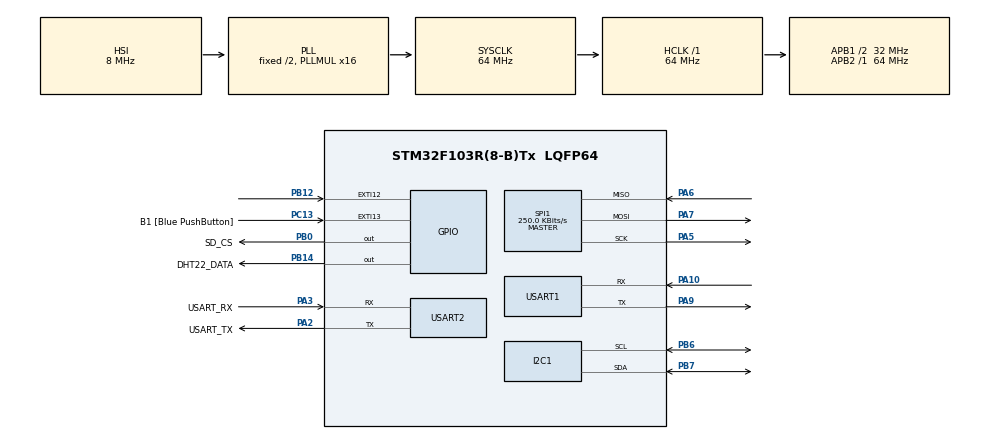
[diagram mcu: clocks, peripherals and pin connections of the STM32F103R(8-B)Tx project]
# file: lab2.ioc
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Dma.Request0=SPI1_RX
Dma.Request1=SPI1_TX
Dma.SPI1_RX.0.Direction=DMA_PERIPH_TO_MEMORY
Dma.SPI1_RX.0.Instance=DMA1_Channel2
Dma.SPI1_RX.0.MemDataAlignment=DMA_MDATAALIGN_BYTE
Dma.SPI1_RX.0.MemInc=DMA_MINC_ENABLE
Dma.SPI1_RX.0.Mode=DMA_NORMAL
Dma.SPI1_RX.0.PeriphDataAlignment=DMA_PDATAALIGN_BYTE
Dma.SPI1_RX.0.PeriphInc=DMA_PINC_DISABLE
Dma.SPI1_RX.0.Priority=DMA_PRIORITY_MEDIUM
Dma.SPI1_TX.1.Direction=DMA_MEMORY_TO_PERIPH
Dma.SPI1_TX.1.Instance=DMA1_Channel3
Dma.SPI1_TX.1.MemDataAlignment=DMA_MDATAALIGN_BYTE
Dma.SPI1_TX.1.MemInc=DMA_MINC_ENABLE
Dma.SPI1_TX.1.Mode=DMA_NORMAL
Dma.SPI1_TX.1.PeriphDataAlignment=DMA_PDATAALIGN_BYTE
Dma.SPI1_TX.1.PeriphInc=DMA_PINC_DISABLE
Dma.SPI1_TX.1.Priority=DMA_PRIORITY_MEDIUM
Mcu.Family=STM32F1
Mcu.Name=STM32F103R(8-B)Tx
Mcu.Package=LQFP64
NVIC.DMA1_Channel2_IRQn=true\:1\:0\:false\:false\:true\:false\:true\:true
NVIC.DMA1_Channel3_IRQn=true\:1\:0\:false\:false\:true\:false\:true\:true
NVIC.EXTI15_10_IRQn=true\:5\:0\:false\:false\:true\:true\:true\:true
NVIC.PriorityGroup=NVIC_PRIORITYGROUP_4
NVIC.SPI1_IRQn=true\:1\:0\:false\:false\:true\:true\:true\:true
NVIC.USART1_IRQn=true\:2\:0\:false\:false\:true\:true\:true\:true
PA10.GPIO_PuPd=GPIO_PULLUP
PA10.Mode=Asynchronous
PA10.Signal=USART1_RX
PA13.GPIO_Label=TMS
PA13.Mode=Serial_Wire
PA13.Signal=SYS_JTMS-SWDIO
PA14.GPIO_Label=TCK
PA14.Mode=Serial_Wire
PA14.Signal=SYS_JTCK-SWCLK
PA2.GPIO_Label=USART_TX
PA2.GPIO_Mode=GPIO_MODE_AF_PP
PA2.GPIO_PuPd=GPIO_NOPULL
PA2.GPIO_Speed=GPIO_SPEED_FREQ_LOW
PA2.Mode=Asynchronous
PA2.Signal=USART2_TX
PA3.GPIO_Label=USART_RX
PA3.GPIO_Mode=GPIO_MODE_AF_PP
PA3.GPIO_PuPd=GPIO_NOPULL
PA3.GPIO_Speed=GPIO_SPEED_FREQ_LOW
PA3.Mode=Asynchronous
PA3.Signal=USART2_RX
PA5.Mode=Full_Duplex_Master
PA5.Signal=SPI1_SCK
PA6.Mode=Full_Duplex_Master
PA6.Signal=SPI1_MISO
PA7.Mode=Full_Duplex_Master
PA7.Signal=SPI1_MOSI
PA9.Mode=Asynchronous
PA9.Signal=USART1_TX
PB0.GPIO_Label=SD_CS
PB0.PinState=GPIO_PIN_SET
PB0.Signal=GPIO_Output
PB12.GPIO_ModeDefaultEXTI=GPIO_MODE_IT_FALLING
PB12.GPIO_PuPd=GPIO_PULLUP
PB12.Signal=GPXTI12
PB14.GPIO_Label=DHT22_DATA
PB14.GPIO_ModeDefaultOutputPP=GPIO_MODE_OUTPUT_OD
PB14.GPIO_PuPd=GPIO_NOPULL
PB14.Signal=GPIO_Output
PB3.GPIO_Label=SWO
PB3.Signal=SYS_JTDO-TRACESWO
PB6.Mode=I2C
PB6.Signal=I2C1_SCL
PB7.Mode=I2C
PB7.Signal=I2C1_SDA
PC13-TAMPER-RTC.GPIO_Label=B1 [Blue PushButton]
PC13-TAMPER-RTC.GPIO_ModeDefaultEXTI=GPIO_MODE_IT_FALLING
PC13-TAMPER-RTC.GPIO_PuPd=GPIO_NOPULL
PC13-TAMPER-RTC.Signal=GPXTI13
PC14-OSC32_IN.Signal=RCC_OSC32_IN
PC15-OSC32_OUT.Signal=RCC_OSC32_OUT
PD0-OSC_IN.Signal=RCC_OSC_IN
PD1-OSC_OUT.Signal=RCC_OSC_OUT
ProjectManager.HeapSize=0x200
ProjectManager.StackSize=0x400
ProjectManager.TargetToolchain=MDK-ARM V5.32
RCC.AHBFreq_Value=64000000
RCC.APB1CLKDivider=RCC_HCLK_DIV2
RCC.APB1Freq_Value=32000000
RCC.APB1TimFreq_Value=64000000
RCC.APB2Freq_Value=64000000
RCC.APB2TimFreq_Value=64000000
RCC.HCLKFreq_Value=64000000
RCC.PLLMUL=RCC_PLL_MUL16
RCC.SYSCLKFreq_VALUE=64000000
RCC.SYSCLKSource=RCC_SYSCLKSOURCE_PLLCLK
RCC.USBFreq_Value=64000000
SPI1.BaudRatePrescaler=SPI_BAUDRATEPRESCALER_256
SPI1.CalculateBaudRate=250.0 KBits/s
SPI1.Direction=SPI_DIRECTION_2LINES
SPI1.Mode=SPI_MODE_MASTER
SPI1.VirtualType=VM_MASTER
TIM2.Prescaler=63
USART1.VirtualMode=VM_ASYNC
USART2.VirtualMode=VM_ASYNC
VP_FATFS_VS_Generic.Mode=User_defined
VP_TIM2_VS_ClockSourceINT.Mode=Internal
board=NUCLEO-F103RB

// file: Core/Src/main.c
/* USER CODE BEGIN Header */
/**
  ******************************************************************************
  * @file           : main.c
  * @brief          : Main program body
  ******************************************************************************
  * @attention
  *
  * Copyright (c) 2026 STMicroelectronics.
  * All rights reserved.
  *
  * This software is licensed under terms that can be found in the LICENSE file
  * in the root directory of this software component.
  * If no LICENSE file comes with this software, it is provided AS-IS.
  *
  ******************************************************************************
  */
/* USER CODE END Header */
#include "main.h"
#include "fatfs.h"
#include "ds3231.h"
#include "Sd_spi.h"
#include "ssd1306.h"
#include <stdio.h>
#include <string.h>
#include "link_proto.h"

/* USER CODE BEGIN PD */
#define NODE_ADDR         LINK_ADDR_LOGGER
#define LINK_RX_SIZE      256U
#define LOG_EVERY_N       30U
#define LINK_TIMEOUT_MS   7000U
/* USER CODE END PD */

I2C_HandleTypeDef hi2c1;

SPI_HandleTypeDef hspi1;
DMA_HandleTypeDef hdma_spi1_rx;
DMA_HandleTypeDef hdma_spi1_tx;

TIM_HandleTypeDef htim2;

UART_HandleTypeDef huart1;
UART_HandleTypeDef huart2;

/* USER CODE BEGIN PV */
#define MOCK_RX_ENABLE  0   /* 1 = inject fake frames for bench tests, never for real operation */
#define MOCK_PERIOD_MS  2000U

#if MOCK_RX_ENABLE
static const char *mock_frames[] =
{
    "$DHT,2,1,1799,236,507*74",
    "$DHT,2,1,1800,235,508*77",
    "$DHT,2,1,1801,235,507*79",
    "$DHT,2,1,1802,236,508*76",
    "$DHT,2,1,1803,235,508*74",
    "$DHT,2,1,1804,236,507*7F",
    "$DHT,2,1,1805,236,507*7E",
    "$DHT,2,1,1806,236,507*7D",
    "$DHT,2,1,1807,235,507*7F",
    "$DHT,2,1,1808,236,507*73",
    "$DHT,2,1,1809,235,507*71",
    "$DHT,2,1,1810,235,507*79",
    "$DHT,2,1,1811,236,508*74",
    "$DHT,2,1,1812,236,507*78",
    "$DHT,2,1,1813,235,507*7A",
    "$DHT,2,1,1814,235,507*7D",
    "$DHT,2,1,1815,235,508*73"
};

#define MOCK_FRAME_COUNT \
    (sizeof(mock_frames) / sizeof(mock_frames[0]))

static uint32_t mock_last_ms = 0;
static uint8_t mock_index = 0;
static uint8_t mock_started = 0;
#endif

extern volatile uint8_t sd_mounted;
static char csv_line[128];
static uint8_t dummy[512];
extern volatile uint8_t sd_use_dma;
static uint8_t oled_ok = 0;

static volatile uint8_t  rx_ring[LINK_RX_SIZE];
static volatile uint16_t rx_head = 0, rx_tail = 0;
static volatile uint32_t rx_overflow = 0;
volatile uint32_t uart_err = 0;          /* FE/NE/ORE counted in USART1_IRQHandler */

static link_rx_t   link_rx;
static uint8_t     link_seen = 0, link_ok = 0;
static uint32_t    last_rx_ms = 0;
static uint16_t    last_seq = 0;
static uint8_t     log_cnt = 0;
/* USER CODE END PV */

void SystemClock_Config(void);
static void MX_GPIO_Init(void);
static void MX_DMA_Init(void);
static void MX_TIM2_Init(void);
static void MX_USART2_UART_Init(void);
static void MX_USART1_UART_Init(void);
static void MX_I2C1_Init(void);
static void MX_SPI1_Init(void);

/* USER CODE BEGIN 0 */
void Print(char *message)
{
    HAL_UART_Transmit(&huart2, (uint8_t *)message, strlen(message), HAL_MAX_DELAY);
}

int _write(int file, char *ptr, int len)
{
    HAL_UART_Transmit(&huart2, (uint8_t*)ptr, len, HAL_MAX_DELAY);
    return len;
}

static uint32_t sd_bench(uint8_t use_dma, uint8_t *buf, uint32_t n)
{
    uint32_t total_us = 0;
    sd_use_dma = use_dma;

    for (uint32_t i = 0; i < n; i++)
    {
        uint16_t t0 = __HAL_TIM_GET_COUNTER(&htim2);
        if (sd_read_block(buf, 0) != 0)
            return 0;
        total_us += (uint16_t)(__HAL_TIM_GET_COUNTER(&htim2) - t0);
    }
    return total_us / n;
}

static void sd_dma_test(void)
{
    static uint8_t buf_poll[512], buf_dma[512];
    char s[96];

    uint32_t us_poll = sd_bench(0, buf_poll, 20);
    uint32_t us_dma  = sd_bench(1, buf_dma, 20);
    sd_use_dma = 1;

    if (us_poll == 0 || us_dma == 0)
    {
        Print("[TEST] read error\r\n");
        return;
    }

    snprintf(s, sizeof(s), "[TEST] 512 B, no DMA: %lu us\r\n", (unsigned long)us_poll);
    Print(s);
    snprintf(s, sizeof(s), "[TEST] 512 B, DMA   : %lu us\r\n", (unsigned long)us_dma);
    Print(s);
    snprintf(s, sizeof(s), "[TEST] speedup x%lu.%lu, data %s\r\n",
             (unsigned long)(us_poll * 10 / us_dma / 10),
             (unsigned long)(us_poll * 10 / us_dma % 10),
             memcmp(buf_poll, buf_dma, 512) == 0 ? "identical" : "DIFFERENT");
    Print(s);
}

static void oled_show_humidity(uint8_t valid, int whole, int dec)
{
    char val[16];

    if (valid) snprintf(val, sizeof(val), "%d.%d %%", whole, dec);
    else       snprintf(val, sizeof(val), "--.- %%");

    SSD1306_Clear();
    SSD1306_DrawStringCentered(6,  "HUMIDITY", 2);
    SSD1306_DrawStringCentered(34, val, 3);
    SSD1306_Update();
}

void Link_OnRxByte(uint8_t b)
{
    uint16_t next = (uint16_t)((rx_head + 1U) & (LINK_RX_SIZE - 1U));
    if (next != rx_tail) { rx_ring[rx_head] = b; rx_head = next; }
    else                 { rx_overflow++; }
}

static void handle_frame(const link_data_t *f, DS3231_Time_t rtc_time)
{
    char s[96];
    int hw = f->hum10 / 10, hd = f->hum10 % 10;
    int tt = f->temp10 < 0 ? -f->temp10 : f->temp10;
    const char *tsign = f->temp10 < 0 ? "-" : "";
    int tw = tt / 10, td = tt % 10;

    if (link_seen && (uint16_t)(f->seq - last_seq) != 1U)
        Print("[LINK] frame(s) lost\r\n");
    link_seen = 1; link_ok = 1;
    last_seq = f->seq; last_rx_ms = HAL_GetTick();

		if (oled_ok)
		{
				oled_show_humidity(1, hw, hd);
		}

    snprintf(s, sizeof(s), "%02d.%02d.%04d %02d:%02d:%02d | Temp: %s%d.%d C, Hum: %d.%d %%\r\n",
             rtc_time.date, rtc_time.month, rtc_time.year,
             rtc_time.hours, rtc_time.minutes, rtc_time.seconds,
             tsign, tw, td, hw, hd);
    Print(s);

    if (++log_cnt >= LOG_EVERY_N)
    {
        log_cnt = 0;
        if (!sd_mounted)
            Print("  [SD] no card\r\n");
        else
        {
            snprintf(csv_line, sizeof(csv_line), "%02d.%02d.%04d;%02d:%02d:%02d;%s%d.%d;%d.%d\r\n",
                     rtc_time.date, rtc_time.month, rtc_time.year,
                     rtc_time.hours, rtc_time.minutes, rtc_time.seconds,
                     tsign, tw, td, hw, hd);
						if (sd_append_file("log.csv", csv_line) != 0)
						{
								Print("  [SD] write failed\r\n");
								sd_unmount();
						}
						else
						{
							Print("  [SD] saved\r\n");
						}
        }
    }
}

#if MOCK_RX_ENABLE

static void mock_receive_frame(void)
{
    const char *p = mock_frames[mock_index];

    while (*p)
    {
        Link_OnRxByte((uint8_t)*p);
        p++;
    }

    Link_OnRxByte('\r');
    Link_OnRxByte('\n');

    mock_index++;

    if (mock_index >= MOCK_FRAME_COUNT)
        mock_index = 0;
}

#endif

/* USER CODE END 0 */

int main(void)
{

  /* MCU Configuration--------------------------------------------------------*/

  /* Reset of all peripherals, Initializes the Flash interface and the Systick. */
  HAL_Init();

  /* Configure the system clock */
  SystemClock_Config();

  /* Initialize all configured peripherals */
  MX_GPIO_Init();
  MX_DMA_Init();
  MX_TIM2_Init();
  MX_USART2_UART_Init();
  MX_USART1_UART_Init();
  MX_I2C1_Init();
  MX_SPI1_Init();
	MX_FATFS_Init();

  /* USER CODE BEGIN 2 */
	HAL_TIM_Base_Start(&htim2);
	/* RS-485 receive: USART1 RXNE interrupt (NVIC priority is set in HAL_UART_MspInit) */
	__HAL_UART_ENABLE_IT(&huart1, UART_IT_RXNE);

	if (DS3231_Init() != HAL_OK)
	{
			Print("[RTC] initialization failed\r\n");
	}
	else
	{
    Print("[RTC] initialized\r\n");
	}

	oled_ok = (SSD1306_Init() == HAL_OK);
	if (!oled_ok)
			Print("OLED not found\r\n");
	else
			oled_show_humidity(0, 0, 0);

  if (sd_mount() != 0)
      Print("SD mount FAILED\r\n");
  else
      sd_dma_test();

	link_rx_init(&link_rx, NODE_ADDR);

	Print("System ready.\r\n");
	//DS3231_Time_t init_time = {10, 31, 20, 4, 22, 10, 2026};
	//DS3231_SetTime(&init_time);

  /* USER CODE END 2 */

  /* Infinite loop */
while (1)
{

    /* USER CODE BEGIN 3 */
	#if MOCK_RX_ENABLE

    if (!mock_started ||
        (uint32_t)(HAL_GetTick() - mock_last_ms) >= MOCK_PERIOD_MS)
    {
        mock_last_ms = HAL_GetTick();
        mock_started = 1;

        mock_receive_frame();
    }

#endif

    while (rx_tail != rx_head)
    {
				DS3231_Time_t rtc_time;
        uint8_t b = rx_ring[rx_tail];
        rx_tail = (uint16_t)((rx_tail + 1U) & (LINK_RX_SIZE - 1U));

        link_data_t f;
        link_result_t r = link_rx_feed(&link_rx, b, &f);
				if (r == LINK_FRAME)
				{
						if (DS3231_ReadTime(&rtc_time))
						{
								handle_frame(&f, rtc_time);
						}
						else
						{
								Print("[RTC] read error\r\n");
						}
				}
				else if (r == LINK_BAD)
				{
						Print("[LINK] bad frame\r\n");
				}
    }

    uint8_t now_ok = link_seen && ((uint32_t)(HAL_GetTick() - last_rx_ms) < LINK_TIMEOUT_MS);
    if (link_ok && !now_ok)
    {
        Print("[LINK] sensor timeout\r\n");
        if (oled_ok)
            oled_show_humidity(0, 0, 0);
    }
    link_ok = now_ok;

    /* link diagnostics: print only when a counter changed */
    {
        static uint32_t d_ovf = 0, d_err = 0;
        uint32_t o = rx_overflow, e = uart_err;
        if (o != d_ovf || e != d_err)
        {
            char ds[56];
            d_ovf = o; d_err = e;
            snprintf(ds, sizeof(ds), "[LINK] rx overflow=%lu, uart err=%lu\r\n",
                     (unsigned long)o, (unsigned long)e);
            Print(ds);
        }
    }

    /* ===== HOT-SWAP ===== */
		static uint32_t last_sd_check = 0;

		if ((uint32_t)(HAL_GetTick() - last_sd_check) >= 10000U)
		{
				last_sd_check = HAL_GetTick();

				if (sd_mounted)
				{
						if (sd_read_block(dummy, 0) != 0)
						{
								Print("[SD] card removed\r\n");
								sd_unmount();
						}
				}
				else
				{
						Print("[SD] trying to mount card...\r\n");

						if (sd_mount() == 0)
						{
								Print("[SD] card mounted successfully\r\n");
						}
						else
						{
								Print("[SD] mount failed, retrying...\r\n");
						}
				}
		}

    HAL_Delay(10);
  /* USER CODE END 3 */
}}

void SystemClock_Config(void)
{
  RCC_OscInitTypeDef RCC_OscInitStruct = {0};
  RCC_ClkInitTypeDef RCC_ClkInitStruct = {0};

  /** Initializes the RCC Oscillators according to the specified parameters
  * in the RCC_OscInitTypeDef structure.
  */
  RCC_OscInitStruct.OscillatorType = RCC_OSCILLATORTYPE_HSI;
  RCC_OscInitStruct.HSIState = RCC_HSI_ON;
  RCC_OscInitStruct.HSICalibrationValue = RCC_HSICALIBRATION_DEFAULT;
  RCC_OscInitStruct.PLL.PLLState = RCC_PLL_ON;
  RCC_OscInitStruct.PLL.PLLSource = RCC_PLLSOURCE_HSI_DIV2;
  RCC_OscInitStruct.PLL.PLLMUL = RCC_PLL_MUL16;
  if (HAL_RCC_OscConfig(&RCC_OscInitStruct) != HAL_OK)
  {
    Error_Handler();
  }

  /** Initializes the CPU, AHB and APB buses clocks
  */
  RCC_ClkInitStruct.ClockType = RCC_CLOCKTYPE_HCLK|RCC_CLOCKTYPE_SYSCLK
                              |RCC_CLOCKTYPE_PCLK1|RCC_CLOCKTYPE_PCLK2;
  RCC_ClkInitStruct.SYSCLKSource = RCC_SYSCLKSOURCE_PLLCLK;
  RCC_ClkInitStruct.AHBCLKDivider = RCC_SYSCLK_DIV1;
  RCC_ClkInitStruct.APB1CLKDivider = RCC_HCLK_DIV2;
  RCC_ClkInitStruct.APB2CLKDivider = RCC_HCLK_DIV1;

  if (HAL_RCC_ClockConfig(&RCC_ClkInitStruct, FLASH_LATENCY_2) != HAL_OK)
  {
    Error_Handler();
  }
}

static void MX_I2C1_Init(void)
{

  hi2c1.Instance = I2C1;
  hi2c1.Init.ClockSpeed = 100000;
  hi2c1.Init.DutyCycle = I2C_DUTYCYCLE_2;
  hi2c1.Init.OwnAddress1 = 0;
  hi2c1.Init.AddressingMode = I2C_ADDRESSINGMODE_7BIT;
  hi2c1.Init.DualAddressMode = I2C_DUALADDRESS_DISABLE;
  hi2c1.Init.OwnAddress2 = 0;
  hi2c1.Init.GeneralCallMode = I2C_GENERALCALL_DISABLE;
  hi2c1.Init.NoStretchMode = I2C_NOSTRETCH_DISABLE;
  if (HAL_I2C_Init(&hi2c1) != HAL_OK)
  {
    Error_Handler();
  }

}

static void MX_SPI1_Init(void)
{

  /* SPI1 parameter configuration*/
  hspi1.Instance = SPI1;
  hspi1.Init.Mode = SPI_MODE_MASTER;
  hspi1.Init.Direction = SPI_DIRECTION_2LINES;
  hspi1.Init.DataSize = SPI_DATASIZE_8BIT;
  hspi1.Init.CLKPolarity = SPI_POLARITY_LOW;
  hspi1.Init.CLKPhase = SPI_PHASE_1EDGE;
  hspi1.Init.NSS = SPI_NSS_SOFT;
  hspi1.Init.BaudRatePrescaler = SPI_BAUDRATEPRESCALER_256;
  hspi1.Init.FirstBit = SPI_FIRSTBIT_MSB;
  hspi1.Init.TIMode = SPI_TIMODE_DISABLE;
  hspi1.Init.CRCCalculation = SPI_CRCCALCULATION_DISABLE;
  hspi1.Init.CRCPolynomial = 10;
  if (HAL_SPI_Init(&hspi1) != HAL_OK)
  {
    Error_Handler();
  }

}

static void MX_TIM2_Init(void)
{

  TIM_ClockConfigTypeDef sClockSourceConfig = {0};
  TIM_MasterConfigTypeDef sMasterConfig = {0};

  htim2.Instance = TIM2;
  htim2.Init.Prescaler = 63;
  htim2.Init.CounterMode = TIM_COUNTERMODE_UP;
  htim2.Init.Period = 65535;
  htim2.Init.ClockDivision = TIM_CLOCKDIVISION_DIV1;
  htim2.Init.AutoReloadPreload = TIM_AUTORELOAD_PRELOAD_DISABLE;
  if (HAL_TIM_Base_Init(&htim2) != HAL_OK)
  {
    Error_Handler();
  }
  sClockSourceConfig.ClockSource = TIM_CLOCKSOURCE_INTERNAL;
  if (HAL_TIM_ConfigClockSource(&htim2, &sClockSourceConfig) != HAL_OK)
  {
    Error_Handler();
  }
  sMasterConfig.MasterOutputTrigger = TIM_TRGO_RESET;
  sMasterConfig.MasterSlaveMode = TIM_MASTERSLAVEMODE_DISABLE;
  if (HAL_TIMEx_MasterConfigSynchronization(&htim2, &sMasterConfig) != HAL_OK)
  {
    Error_Handler();
  }

}

static void MX_USART1_UART_Init(void)
{

  huart1.Instance = USART1;
  huart1.Init.BaudRate = 115200;
  huart1.Init.WordLength = UART_WORDLENGTH_8B;
  huart1.Init.StopBits = UART_STOPBITS_1;
  huart1.Init.Parity = UART_PARITY_NONE;
  huart1.Init.Mode = UART_MODE_TX_RX;
  huart1.Init.HwFlowCtl = UART_HWCONTROL_NONE;
  huart1.Init.OverSampling = UART_OVERSAMPLING_16;
  if (HAL_UART_Init(&huart1) != HAL_OK)
  {
    Error_Handler();
  }

}

static void MX_USART2_UART_Init(void)
{

  huart2.Instance = USART2;
  huart2.Init.BaudRate = 115200;
  huart2.Init.WordLength = UART_WORDLENGTH_8B;
  huart2.Init.StopBits = UART_STOPBITS_1;
  huart2.Init.Parity = UART_PARITY_NONE;
  huart2.Init.Mode = UART_MODE_TX_RX;
  huart2.Init.HwFlowCtl = UART_HWCONTROL_NONE;
  huart2.Init.OverSampling = UART_OVERSAMPLING_16;
  if (HAL_UART_Init(&huart2) != HAL_OK)
  {
    Error_Handler();
  }

}

static void MX_DMA_Init(void)
{

  /* DMA controller clock enable */
  __HAL_RCC_DMA1_CLK_ENABLE();

  /* DMA interrupt init */
  /* DMA1_Channel2_IRQn interrupt configuration */
  HAL_NVIC_SetPriority(DMA1_Channel2_IRQn, 1, 0);
  HAL_NVIC_EnableIRQ(DMA1_Channel2_IRQn);
  /* DMA1_Channel3_IRQn interrupt configuration */
  HAL_NVIC_SetPriority(DMA1_Channel3_IRQn, 1, 0);
  HAL_NVIC_EnableIRQ(DMA1_Channel3_IRQn);

}

static void MX_GPIO_Init(void)
{
  GPIO_InitTypeDef GPIO_InitStruct = {0};

  /* GPIO Ports Clock Enable */
  __HAL_RCC_GPIOC_CLK_ENABLE();
  __HAL_RCC_GPIOD_CLK_ENABLE();
  __HAL_RCC_GPIOA_CLK_ENABLE();
  __HAL_RCC_GPIOB_CLK_ENABLE();

  /*Configure GPIO pin Output Level */
  HAL_GPIO_WritePin(SD_CS_GPIO_Port, SD_CS_Pin, GPIO_PIN_SET);

  /*Configure GPIO pin : SD_CS_Pin */
  GPIO_InitStruct.Pin = SD_CS_Pin;
  GPIO_InitStruct.Mode = GPIO_MODE_OUTPUT_PP;
  GPIO_InitStruct.Pull = GPIO_NOPULL;
  GPIO_InitStruct.Speed = GPIO_SPEED_FREQ_LOW;
  HAL_GPIO_Init(SD_CS_GPIO_Port, &GPIO_InitStruct);

  /*Configure GPIO pin : PB12 */
  GPIO_InitStruct.Pin = GPIO_PIN_12;
  GPIO_InitStruct.Mode = GPIO_MODE_IT_FALLING;
  GPIO_InitStruct.Pull = GPIO_PULLUP;
  HAL_GPIO_Init(GPIOB, &GPIO_InitStruct);

  /* EXTI interrupt init*/
  HAL_NVIC_SetPriority(EXTI15_10_IRQn, 5, 0);
  HAL_NVIC_EnableIRQ(EXTI15_10_IRQn);

}

/* USER CODE BEGIN 4 */

void HAL_GPIO_EXTI_Callback(uint16_t GPIO_Pin)
{
}

/* USER CODE END 4 */

void Error_Handler(void)
{
  __disable_irq();
  while (1)
  {
  }
}
